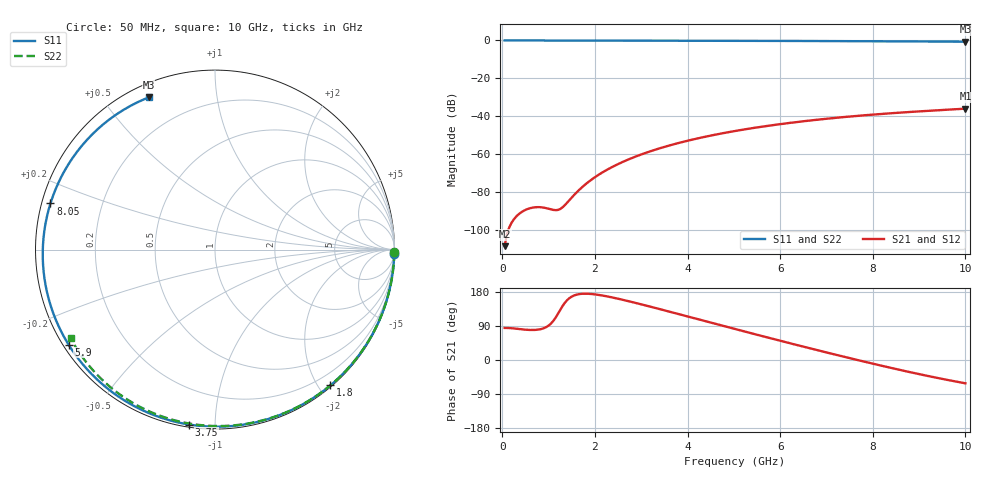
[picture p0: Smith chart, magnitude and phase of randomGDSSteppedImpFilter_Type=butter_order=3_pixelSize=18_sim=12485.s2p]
! freq	dB(S11)	phase(S11)	dB(S12)	phase(S12)
!  dB(S21)	phase(S21)	dB(S22)	phase(S22)
!S-par simulation data
#  GHz  S  DB  R 50
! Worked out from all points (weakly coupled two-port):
!   200 points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, 50 MHz to 10 GHz, reference 50 ohm
!   highest |S21| = -36.04 dB at 10 GHz (marker M1); lowest = -108.7 dB at 50 MHz (marker M2)
!   lowest |S11| = -0.7 dB at 10 GHz (marker M3), VSWR 25.70, Z = 2.78 + j32.6 ohm
!   |S11| at or under -10 dB: nowhere
!   |S22| runs from -0.5 to 0.0 dB; largest |S21 - S12| = 0
!   S11 on the Smith chart (normalised r, x): 50 MHz: 4, -84; 1.8 GHz: 0.02, -2.16; 3.75 GHz: 0.01, -0.86; 5.9 GHz: 0.02, -0.30; 8.05 GHz: 0.02, +0.14; 10 GHz: 0.06, +0.65
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0.05  -0.01 -1.4  -108.69 84.6  -108.69 84.6  -0.00 -0.8
0.4  -0.02 -11.2  -90.94 81.1  -90.94 81.1  -0.01 -6.8
0.8  -0.03 -22.4  -88.07 80.7  -88.07 80.7  -0.02 -13.6
1.2  -0.04 -33.4  -89.54 121.5  -89.54 121.5  -0.03 -20.4
1.6  -0.06 -44.3  -80.39 172.3  -80.39 172.3  -0.03 -27.1
1.75  -0.06 -48.3  -76.95 174.9  -76.95 174.9  -0.04 -29.5
1.8  -0.06 -49.6  -75.92 175.0  -75.92 175.0  -0.04 -30.4
2.1  -0.07 -57.5  -70.65 171.4  -70.65 171.4  -0.05 -35.3
2.45  -0.08 -66.5  -65.91 163.1  -65.91 163.1  -0.05 -41.0
2.9  -0.10 -77.8  -61.15 150.0  -61.15 150.0  -0.06 -48.2
3.4  -0.12 -90.1  -56.98 134.3  -56.98 134.3  -0.07 -56.1
3.75  -0.13 -98.4  -54.54 123.1  -54.54 123.1  -0.08 -61.5
4.4  -0.16 -113.5  -50.78 102.0  -50.78 102.0  -0.10 -71.4
5.05  -0.19 -128.2  -47.74 81.0  -47.74 81.0  -0.12 -81.0
5.9  -0.24 -147.0  -44.55 54.0  -44.55 54.0  -0.16 -93.2
6.7  -0.30 -164.7  -42.15 29.1  -42.15 29.1  -0.20 -104.4
7.4  -0.36 179.5  -40.43 7.9  -40.43 7.9  -0.25 -113.9
8.05  -0.43 164.3  -39.09 -11.1  -39.09 -11.1  -0.30 -122.6
8.35  -0.46 157.1  -38.54 -19.6  -38.54 -19.6  -0.33 -126.6
9.15  -0.55 136.9  -37.26 -41.1  -37.26 -41.1  -0.40 -137.1
9.6  -0.62 124.8  -36.61 -52.3  -36.61 -52.3  -0.45 -143.1
10  -0.68 113.6  -36.04 -61.5  -36.04 -61.5  -0.50 -148.4
